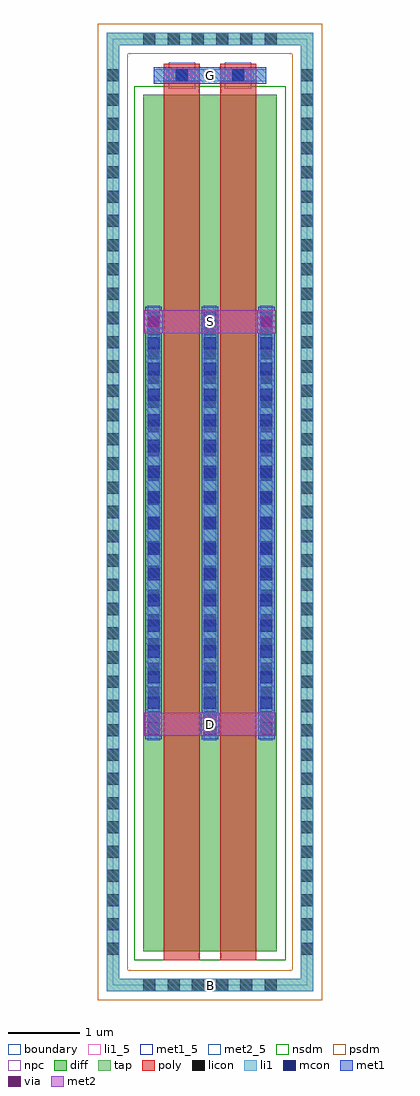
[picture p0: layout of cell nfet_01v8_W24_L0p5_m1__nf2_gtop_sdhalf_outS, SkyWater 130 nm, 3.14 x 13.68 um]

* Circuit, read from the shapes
.subckt nfet_01v8_W24_L0p5_m1__nf2_gtop_sdhalf_outS B D G S
XM1 D G S B sky130_fd_pr__nfet_01v8 w=12 l=0.5 m=2
.ends

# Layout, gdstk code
import gdstk
lib = gdstk.Library(unit=1e-6, precision=1e-09)
def R(c, l, rs):  # rectangles x0, y0, x1, y1
    for r in rs: c.add(gdstk.rectangle(r[:2], r[2:], *l))
def A(c, l, x, y, w, h, nx, ny, dx, dy):  # array of equal rectangles
    R(c, l, [(x+i*dx, y+j*dy, x+i*dx+w, y+j*dy+h) for i in range(nx) for j in range(ny)])
diff = (65, 20)
tap = (65, 44)
poly = (66, 20)
licon = (66, 44)
li1_5 = (67, 5)
li1 = (67, 20)
mcon = (67, 44)
met1_5 = (68, 5)
met1 = (68, 20)
via = (68, 44)
met2_5 = (69, 5)
met2 = (69, 20)
nsdm = (93, 44)
psdm = (94, 20)
npc = (95, 20)
boundary = (235, 4)

sky130_fd_pr__nfet_01v8_ = lib.new_cell('sky130_fd_pr__nfet_01v8_3K4E9Y')
R(sky130_fd_pr__nfet_01v8_, diff, [(-0.935,-6.155,0.935,5.845)])
R(sky130_fd_pr__nfet_01v8_, tap, [(-1.445,-6.715,1.445,-6.545), (-1.445,-6.545,-1.275,6.545), (1.275,-6.545,1.445,6.545), (-1.445,6.545,1.445,6.715)])
R(sky130_fd_pr__nfet_01v8_, poly, [(-0.645,-6.285,-0.145,6.285), (0.145,-6.285,0.645,6.285)])
A(sky130_fd_pr__nfet_01v8_, licon, -0.935, -6.715, 0.17, 0.17, 6, 2, 0.34, 13.26)
A(sky130_fd_pr__nfet_01v8_, licon, -1.445, -6.205, 0.17, 0.17, 1, 37, 0, 0.34)
A(sky130_fd_pr__nfet_01v8_, licon, 1.275, -6.205, 0.17, 0.17, 1, 37, 0, 0.34)
A(sky130_fd_pr__nfet_01v8_, licon, -0.875, -2.96, 0.17, 0.17, 3, 17, 0.79, 0.34)
R(sky130_fd_pr__nfet_01v8_, licon, [(-0.48,6.035,-0.31,6.205), (0.31,6.035,0.48,6.205)])
A(sky130_fd_pr__nfet_01v8_, li1, -0.875, -3.205, 0.17, 6.1, 3, 1, 0.79, 0)
R(sky130_fd_pr__nfet_01v8_, li1, [(-1.445,-6.715,1.445,-6.545), (-1.445,-6.545,-1.275,6.545), (1.275,-6.545,1.445,6.545), (-0.79,6.035,0.79,6.205), (-1.445,6.545,1.445,6.715)])
A(sky130_fd_pr__nfet_01v8_, mcon, -0.875, -3.12, 0.17, 0.17, 3, 17, 0.79, 0.36)
R(sky130_fd_pr__nfet_01v8_, mcon, [(-0.48,6.035,-0.31,6.205), (0.31,6.035,0.48,6.205)])
A(sky130_fd_pr__nfet_01v8_, met1, -0.905, -3.185, 0.23, 6.06, 3, 1, 0.79, 0)
R(sky130_fd_pr__nfet_01v8_, met1, [(-0.625,6.005,-0.165,6.035), (0.165,6.005,0.625,6.035), (-0.79,6.035,0.79,6.205), (-0.625,6.205,-0.165,6.235), (0.165,6.205,0.625,6.235)])
R(sky130_fd_pr__nfet_01v8_, nsdm, [(-1.06,-6.28,1.06,5.97)])
R(sky130_fd_pr__nfet_01v8_, psdm, [(-1.57,-6.84,1.57,-6.42), (-1.57,-6.42,-1.15,6.42), (1.15,-6.42,1.57,6.42), (-1.57,6.42,1.57,6.84)])
R(sky130_fd_pr__nfet_01v8_, npc, [(-0.58,5.935,-0.21,6.305), (0.21,5.935,0.58,6.305)])
R(sky130_fd_pr__nfet_01v8_, boundary, [(-1.36,-6.63,1.36,6.63)])
sky130_fd_pr__nfet_01v8_.add(gdstk.Label('B', (0,-6.63), layer=67, texttype=5))
sky130_fd_pr__nfet_01v8_.add(gdstk.Label('D0', (-0.79,-0.155), layer=67, texttype=5))
sky130_fd_pr__nfet_01v8_.add(gdstk.Label('G', (0.395,6.12), layer=67, texttype=5))
sky130_fd_pr__nfet_01v8_.add(gdstk.Label('G', (-0.395,6.12), layer=67, texttype=5))
sky130_fd_pr__nfet_01v8_.add(gdstk.Label('S1', (0,-0.155), layer=67, texttype=5))

nfet_01v8_w24_l0p5_m1__n = lib.new_cell('nfet_01v8_W24_L0p5_m1__nf2_gtop_sdhalf_outS')
R(nfet_01v8_w24_l0p5_m1__n, li1_5, [(1.275,-0.085,1.445,0.085)])
R(nfet_01v8_w24_l0p5_m1__n, li1, [(1.275,-0.085,1.445,0.085)])
R(nfet_01v8_w24_l0p5_m1__n, met1_5, [(0.57,12.635,2.15,12.865)])
R(nfet_01v8_w24_l0p5_m1__n, met1, [(1.23,3.495,1.49,3.815), (0.44,9.135,0.7,9.455), (2.02,9.135,2.28,9.455), (0.57,12.635,2.15,12.865)])
R(nfet_01v8_w24_l0p5_m1__n, via, [(1.285,3.58,1.435,3.73), (0.495,9.22,0.645,9.37), (2.075,9.22,2.225,9.37)])
R(nfet_01v8_w24_l0p5_m1__n, met2_5, [(0.435,3.495,2.285,3.815), (0.435,9.135,2.285,9.455)])
R(nfet_01v8_w24_l0p5_m1__n, met2, [(0.435,3.495,2.285,3.815), (0.435,9.135,2.285,9.455)])
nfet_01v8_w24_l0p5_m1__n.add(gdstk.Reference(sky130_fd_pr__nfet_01v8_, (1.36,6.63)))
nfet_01v8_w24_l0p5_m1__n.add(gdstk.Label('S', (1.36,9.295), layer=69, texttype=5))
nfet_01v8_w24_l0p5_m1__n.add(gdstk.Label('D', (1.36,3.655), layer=69, texttype=5))
nfet_01v8_w24_l0p5_m1__n.add(gdstk.Label('G', (1.36,12.75), layer=68, texttype=5))
nfet_01v8_w24_l0p5_m1__n.add(gdstk.Label('B', (1.36,0), layer=67, texttype=5))

lib.write_gds('nfet_01v8_W24_L0p5_m1__nf2_gtop_sdhalf_outS.gds')
